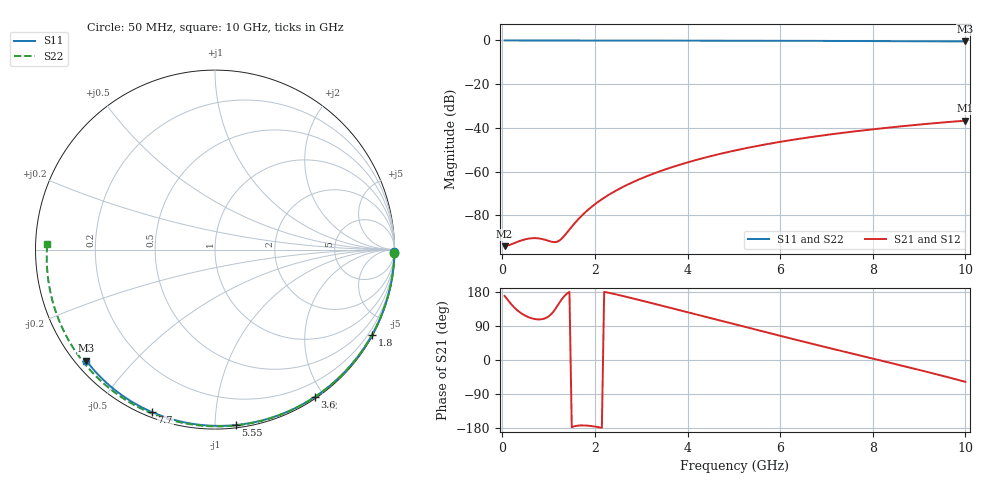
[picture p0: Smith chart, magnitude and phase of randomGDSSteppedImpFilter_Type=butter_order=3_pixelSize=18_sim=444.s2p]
! freq	dB(S11)	phase(S11)	dB(S12)	phase(S12)
!  dB(S21)	phase(S21)	dB(S22)	phase(S22)
!S-par simulation data
#  GHz  S  DB  R 50
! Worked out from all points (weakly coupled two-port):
!   200 points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, 50 MHz to 10 GHz, reference 50 ohm
!   highest |S21| = -36.73 dB at 10 GHz (marker M1); lowest = -94.2 dB at 50 MHz (marker M2)
!   lowest |S11| = -0.5 dB at 10 GHz (marker M3), VSWR 36.79, Z = 1.55 - j18.5 ohm
!   |S11| at or under -10 dB: nowhere
!   |S22| runs from -0.6 to 0.0 dB; largest |S21 - S12| = 0
!   S11 on the Smith chart (normalised r, x): 50 MHz: open; 1.8 GHz: 0.03, -3.92; 3.6 GHz: 0.02, -1.89; 5.55 GHz: 0.02, -1.12; 7.7 GHz: 0.02, -0.68; 10 GHz: 0.03, -0.37
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0.05  -0.00 -0.8  -94.16 169.1  -94.16 169.1  -0.00 -1.0
0.45  -0.01 -7.3  -91.28 120.2  -91.28 120.2  -0.01 -9.3
0.85  -0.02 -13.7  -90.84 107.6  -90.84 107.6  -0.02 -17.6
1.25  -0.02 -20.0  -91.34 154.3  -91.34 154.3  -0.03 -25.7
1.7  -0.03 -27.1  -80.51 -172.6  -80.51 -172.6  -0.04 -34.7
1.75  -0.04 -27.8  -79.47 -172.6  -79.47 -172.6  -0.05 -35.7
1.8  -0.04 -28.6  -78.49 -172.8  -78.49 -172.8  -0.05 -36.7
1.95  -0.04 -31.0  -75.78 -174.7  -75.78 -174.7  -0.05 -39.7
2.1  -0.04 -33.3  -73.41 -177.7  -73.41 -177.7  -0.05 -42.6
2.45  -0.05 -38.7  -68.79 173.3  -68.79 173.3  -0.06 -49.5
2.9  -0.06 -45.5  -64.09 160.1  -64.09 160.1  -0.08 -58.1
3.4  -0.07 -52.9  -59.91 144.8  -59.91 144.8  -0.09 -67.5
3.6  -0.08 -55.9  -58.45 138.6  -58.45 138.6  -0.10 -71.2
4.3  -0.09 -66.0  -54.05 116.7  -54.05 116.7  -0.12 -83.9
5.05  -0.12 -76.5  -50.25 93.3  -50.25 93.3  -0.15 -97.1
5.55  -0.14 -83.3  -48.11 77.7  -48.11 77.7  -0.17 -105.7
6.1  -0.16 -90.7  -46.06 60.7  -46.06 60.7  -0.20 -115.0
6.7  -0.19 -98.5  -44.11 42.4  -44.11 42.4  -0.24 -125.1
7.7  -0.25 -111.2  -41.39 12.6  -41.39 12.6  -0.32 -141.7
8.35  -0.31 -119.2  -39.88 -6.6  -39.88 -6.6  -0.39 -152.7
9.2  -0.38 -129.6  -38.11 -32.2  -38.11 -32.2  -0.48 -167.4
10  -0.47 -139.3  -36.73 -57.6  -36.73 -57.6  -0.58 178.0
